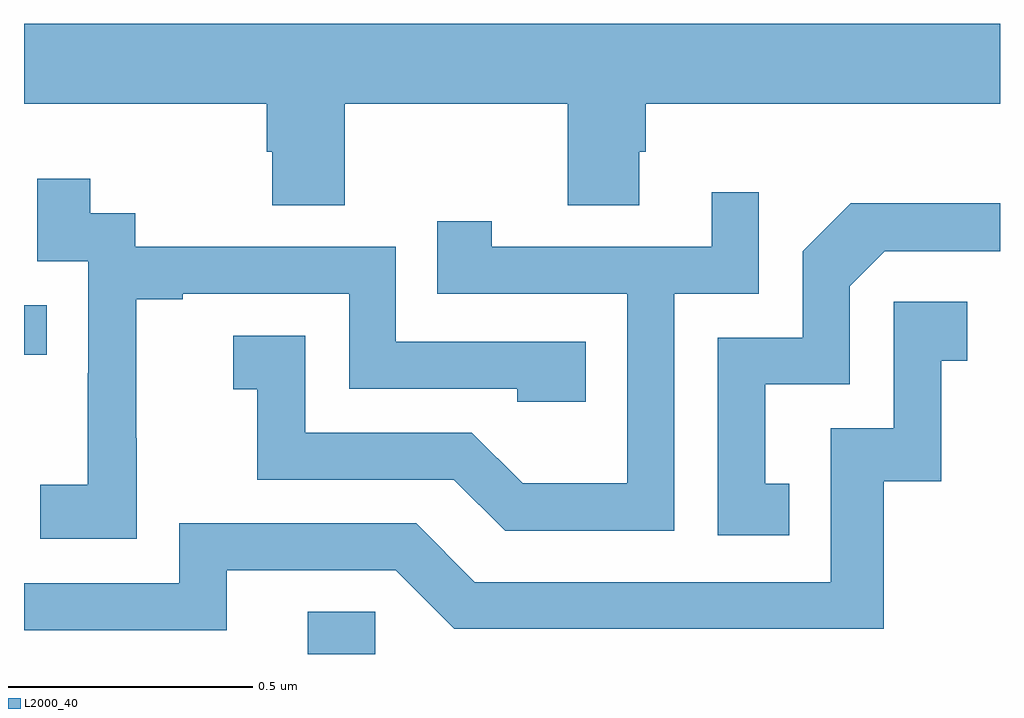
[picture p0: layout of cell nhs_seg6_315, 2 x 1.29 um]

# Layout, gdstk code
import gdstk
lib = gdstk.Library(unit=1e-6, precision=1e-09)
def R(c, l, rs):  # rectangles x0, y0, x1, y1
    for r in rs: c.add(gdstk.rectangle(r[:2], r[2:], *l))
def P(c, l, *ps):  # polygons
    for p in ps: c.add(gdstk.Polygon(p, *l))
L2000_40 = (2000, 40)

nhs_seg6_315 = lib.new_cell('nhs_seg6_315')
R(nhs_seg6_315, L2000_40, [(114.581,987.5,114.72,987.587), (114,988.114,114.047,988.215)])
P(nhs_seg6_315, L2000_40, [(114.657,988.628),(115.114,988.628),(115.114,988.42),(115.261,988.42),(115.261,988.53),(115.274,988.53),(115.274,988.628),(116,988.628),(116,988.792),(114,988.792),(114,988.628),(114.497,988.628),(114.497,988.53),(114.509,988.53),(114.509,988.42),(114.657,988.42)],
  [(114.231,987.943),(114.23,987.943),(114.23,988.227),(114.325,988.227),(114.325,988.239),(114.666,988.239),(114.666,988.044),(115.011,988.044),(115.011,988.017),(115.151,988.017),(115.151,988.14),(114.762,988.14),(114.762,988.335),(114.228,988.335),(114.228,988.404),(114.136,988.404),(114.136,988.474),(114.027,988.474),(114.027,988.305),(114.132,988.305),(114.132,988.076),(114.131,988.076),(114.131,987.847),(114.033,987.847),(114.033,987.737),(114.231,987.737)],
  [(115.332,988.239),(115.506,988.239),(115.506,988.447),(115.409,988.447),(115.409,988.335),(114.958,988.335),(114.958,988.387),(114.847,988.387),(114.847,988.239),(115.236,988.239),(115.236,987.85),(115.022,987.85),(114.918,987.954),(114.576,987.954),(114.576,988.153),(114.429,988.153),(114.429,988.043),(114.478,988.043),(114.478,987.858),(114.881,987.858),(114.986,987.753),(115.332,987.753)],
  [(115.568,987.849),(115.519,987.849),(115.519,988.053),(115.692,988.053),(115.692,988.254),(115.764,988.326),(116,988.326),(116,988.424),(115.694,988.424),(115.596,988.326),(115.596,988.149),(115.422,988.149),(115.422,987.744),(115.568,987.744)],
  [(114.415,987.672),(114.762,987.672),(114.882,987.552),(115.762,987.552),(115.762,987.855),(115.88,987.855),(115.88,988.101),(115.933,988.101),(115.933,988.222),(115.782,988.222),(115.782,987.963),(115.653,987.963),(115.653,987.648),(114.924,987.648),(114.804,987.768),(114.318,987.768),(114.318,987.645),(114,987.645),(114,987.549),(114.415,987.549)])

lib.write_gds('nhs_seg6_315.gds')
